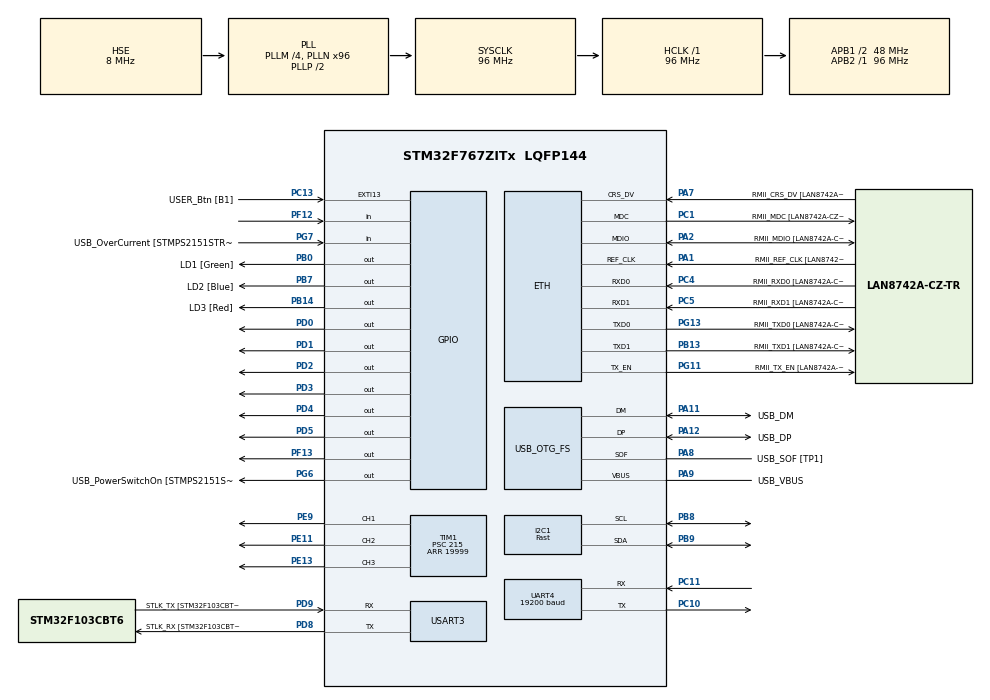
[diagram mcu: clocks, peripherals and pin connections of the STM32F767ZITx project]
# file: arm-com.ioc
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Dma.Request0=UART4_TX
Dma.Request1=UART4_RX
Dma.Request2=USART3_RX
Dma.Request3=USART3_TX
Dma.UART4_RX.1.Direction=DMA_PERIPH_TO_MEMORY
Dma.UART4_RX.1.FIFOMode=DMA_FIFOMODE_DISABLE
Dma.UART4_RX.1.Instance=DMA1_Stream2
Dma.UART4_RX.1.MemDataAlignment=DMA_MDATAALIGN_BYTE
Dma.UART4_RX.1.MemInc=DMA_MINC_ENABLE
Dma.UART4_RX.1.Mode=DMA_NORMAL
Dma.UART4_RX.1.PeriphDataAlignment=DMA_PDATAALIGN_BYTE
Dma.UART4_RX.1.PeriphInc=DMA_PINC_DISABLE
Dma.UART4_RX.1.Priority=DMA_PRIORITY_HIGH
Dma.UART4_TX.0.Direction=DMA_MEMORY_TO_PERIPH
Dma.UART4_TX.0.FIFOMode=DMA_FIFOMODE_DISABLE
Dma.UART4_TX.0.Instance=DMA1_Stream4
Dma.UART4_TX.0.MemDataAlignment=DMA_MDATAALIGN_BYTE
Dma.UART4_TX.0.MemInc=DMA_MINC_ENABLE
Dma.UART4_TX.0.Mode=DMA_NORMAL
Dma.UART4_TX.0.PeriphDataAlignment=DMA_PDATAALIGN_BYTE
Dma.UART4_TX.0.PeriphInc=DMA_PINC_DISABLE
Dma.UART4_TX.0.Priority=DMA_PRIORITY_HIGH
Dma.USART3_RX.2.Direction=DMA_PERIPH_TO_MEMORY
Dma.USART3_RX.2.FIFOMode=DMA_FIFOMODE_DISABLE
Dma.USART3_RX.2.Instance=DMA1_Stream1
Dma.USART3_RX.2.MemDataAlignment=DMA_MDATAALIGN_BYTE
Dma.USART3_RX.2.MemInc=DMA_MINC_ENABLE
Dma.USART3_RX.2.Mode=DMA_NORMAL
Dma.USART3_RX.2.PeriphDataAlignment=DMA_PDATAALIGN_BYTE
Dma.USART3_RX.2.PeriphInc=DMA_PINC_DISABLE
Dma.USART3_RX.2.Priority=DMA_PRIORITY_MEDIUM
Dma.USART3_TX.3.Direction=DMA_MEMORY_TO_PERIPH
Dma.USART3_TX.3.FIFOMode=DMA_FIFOMODE_DISABLE
Dma.USART3_TX.3.Instance=DMA1_Stream3
Dma.USART3_TX.3.MemDataAlignment=DMA_MDATAALIGN_BYTE
Dma.USART3_TX.3.MemInc=DMA_MINC_ENABLE
Dma.USART3_TX.3.Mode=DMA_CIRCULAR
Dma.USART3_TX.3.PeriphDataAlignment=DMA_PDATAALIGN_BYTE
Dma.USART3_TX.3.PeriphInc=DMA_PINC_DISABLE
Dma.USART3_TX.3.Priority=DMA_PRIORITY_MEDIUM
ETH.MediaInterface=HAL_ETH_RMII_MODE
ETH.PHY_Name=LAN8742A_PHY_ADDRESS
ETH.PHY_Value=0
ETH.PhyAddress=0
I2C1.I2C_Speed_Mode=I2C_Fast
I2C1.Timing=0x2010091A
Mcu.Family=STM32F7
Mcu.Name=STM32F767ZITx
Mcu.Package=LQFP144
NVIC.DMA1_Stream1_IRQn=true\:0\:0\:false\:false\:true\:false\:true\:true
NVIC.DMA1_Stream2_IRQn=true\:0\:0\:false\:false\:true\:false\:true\:true
NVIC.DMA1_Stream3_IRQn=true\:0\:0\:false\:false\:true\:false\:true\:true
NVIC.DMA1_Stream4_IRQn=true\:0\:0\:false\:false\:true\:false\:true\:true
NVIC.PriorityGroup=NVIC_PRIORITYGROUP_4
NVIC.TIM1_BRK_TIM9_IRQn=true\:0\:0\:false\:false\:true\:true\:true\:true
PA1.GPIO_Label=RMII_REF_CLK [LAN8742A-CZ-TR_REFCLK0]
PA1.Mode=RMII
PA1.Signal=ETH_REF_CLK
PA10.GPIO_Label=USB_ID
PA10.Signal=USB_OTG_FS_ID
PA11.GPIO_Label=USB_DM
PA11.Mode=Device_Only
PA11.Signal=USB_OTG_FS_DM
PA12.GPIO_Label=USB_DP
PA12.Mode=Device_Only
PA12.Signal=USB_OTG_FS_DP
PA13.GPIO_Label=TMS
PA13.Mode=Serial_Wire
PA13.Signal=SYS_JTMS-SWDIO
PA14.GPIO_Label=TCK
PA14.Mode=Serial_Wire
PA14.Signal=SYS_JTCK-SWCLK
PA2.GPIO_Label=RMII_MDIO [LAN8742A-CZ-TR_MDIO]
PA2.Mode=RMII
PA2.Signal=ETH_MDIO
PA7.GPIO_Label=RMII_CRS_DV [LAN8742A-CZ-TR_CRS_DV]
PA7.Mode=RMII
PA7.Signal=ETH_CRS_DV
PA8.GPIO_Label=USB_SOF [TP1]
PA8.Mode=Activate_SOF_FS
PA8.Signal=USB_OTG_FS_SOF
PA9.GPIO_Label=USB_VBUS
PA9.Mode=Activate_VBUS
PA9.Signal=USB_OTG_FS_VBUS
PB0.GPIO_Label=LD1 [Green]
PB0.Signal=GPIO_Output
PB13.GPIO_Label=RMII_TXD1 [LAN8742A-CZ-TR_TXD1]
PB13.Mode=RMII
PB13.Signal=ETH_TXD1
PB14.GPIO_Label=LD3 [Red]
PB14.Signal=GPIO_Output
PB3.GPIO_Label=SWO
PB3.Signal=SYS_JTDO-SWO
PB7.GPIO_Label=LD2 [Blue]
PB7.Signal=GPIO_Output
PB8.Mode=I2C
PB8.Signal=I2C1_SCL
PB9.Mode=I2C
PB9.Signal=I2C1_SDA
PC1.GPIO_Label=RMII_MDC [LAN8742A-CZ-TR_MDC]
PC1.Mode=RMII
PC1.Signal=ETH_MDC
PC10.Mode=Asynchronous
PC10.Signal=UART4_TX
PC11.Mode=Asynchronous
PC11.Signal=UART4_RX
PC13.GPIO_Label=USER_Btn [B1]
PC13.Signal=GPXTI13
PC14/OSC32_IN.Mode=LSE-External-Oscillator
PC14/OSC32_IN.Signal=RCC_OSC32_IN
PC15/OSC32_OUT.Mode=LSE-External-Oscillator
PC15/OSC32_OUT.Signal=RCC_OSC32_OUT
PC4.GPIO_Label=RMII_RXD0 [LAN8742A-CZ-TR_RXD0]
PC4.Mode=RMII
PC4.Signal=ETH_RXD0
PC5.GPIO_Label=RMII_RXD1 [LAN8742A-CZ-TR_RXD1]
PC5.Mode=RMII
PC5.Signal=ETH_RXD1
PD0.Signal=GPIO_Output
PD1.Signal=GPIO_Output
PD2.Signal=GPIO_Output
PD3.Signal=GPIO_Output
PD4.Signal=GPIO_Output
PD5.Signal=GPIO_Output
PD8.GPIO_Label=STLK_RX [STM32F103CBT6_PA3]
PD8.Mode=Asynchronous
PD8.Signal=USART3_TX
PD9.GPIO_Label=STLK_TX [STM32F103CBT6_PA2]
PD9.Mode=Asynchronous
PD9.Signal=USART3_RX
PE11.Signal=S_TIM1_CH2
PE13.Signal=S_TIM1_CH3
PE9.Signal=S_TIM1_CH1
PF12.Signal=GPIO_Input
PF13.Signal=GPIO_Output
PG11.GPIO_Label=RMII_TX_EN [LAN8742A-CZ-TR_TXEN]
PG11.Mode=RMII
PG11.Signal=ETH_TX_EN
PG13.GPIO_Label=RMII_TXD0 [LAN8742A-CZ-TR_TXD0]
PG13.Mode=RMII
PG13.Signal=ETH_TXD0
PG6.GPIO_Label=USB_PowerSwitchOn [STMPS2151STR_EN]
PG6.Signal=GPIO_Output
PG7.GPIO_Label=USB_OverCurrent [STMPS2151STR_FAULT]
PG7.Signal=GPIO_Input
PH0/OSC_IN.GPIO_Label=MCO [STM32F103CBT6_PA8]
PH0/OSC_IN.Mode=HSE-External-Oscillator
PH0/OSC_IN.Signal=RCC_OSC_IN
PH1/OSC_OUT.Mode=HSE-External-Oscillator
PH1/OSC_OUT.Signal=RCC_OSC_OUT
ProjectManager.HeapSize=0x200
ProjectManager.StackSize=0x400
ProjectManager.TargetToolchain=STM32CubeIDE
RCC.48MHZClocksFreq_Value=24000000
RCC.AHBFreq_Value=96000000
RCC.APB1CLKDivider=RCC_HCLK_DIV2
RCC.APB1Freq_Value=48000000
RCC.APB1TimFreq_Value=96000000
RCC.APB2Freq_Value=96000000
RCC.APB2TimFreq_Value=96000000
RCC.CortexFreq_Value=96000000
RCC.HCLKFreq_Value=96000000
RCC.HSE_VALUE=8000000
RCC.HSI_VALUE=16000000
RCC.PLLM=4
RCC.PLLMUL=RCC_PLL_MUL9
RCC.PLLN=96
RCC.PLLQ=4
RCC.PRESCALERUSB=RCC_USBCLKSOURCE_PLL_DIV1_5
RCC.SYSCLKFreq_VALUE=96000000
RCC.SYSCLKSource=RCC_SYSCLKSOURCE_PLLCLK
RCC.SYSCLKSourceVirtual=RCC_SYSCLKSOURCE_PLLCLK
RCC.USBFreq_Value=48000000
RCC.VCOOutputFreq_Value=192000000
SH.S_TIM1_CH1.0=TIM1_CH1,PWM Generation1 CH1
SH.S_TIM1_CH2.0=TIM1_CH2,PWM Generation2 CH2
SH.S_TIM1_CH3.0=TIM1_CH3,PWM Generation3 CH3
TIM1.AutoReloadPreload=TIM_AUTORELOAD_PRELOAD_ENABLE
TIM1.Channel-PWM\ Generation1\ CH1=TIM_CHANNEL_1
TIM1.Channel-PWM\ Generation2\ CH2=TIM_CHANNEL_2
TIM1.Channel-PWM\ Generation3\ CH3=TIM_CHANNEL_3
TIM1.Period=19999
TIM1.Prescaler=215
TIM1.Pulse-PWM\ Generation1\ CH1=1350
TIM1.Pulse-PWM\ Generation2\ CH2=850
TIM1.Pulse-PWM\ Generation3\ CH3=1600
TIM9.Period=47999
UART4.BaudRate=19200
USART3.VirtualMode-Asynchronous=VM_ASYNC
USB_OTG_FS.VirtualMode=Device_Only
VP_TIM1_VS_ClockSourceINT.Mode=Internal
VP_TIM9_VS_ClockSourceINT.Mode=Internal
board=NUCLEO-F767ZI

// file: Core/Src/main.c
/* USER CODE BEGIN Header */
/**
  ******************************************************************************
  * @file           : main.c
  * @brief          : Main program body
  ******************************************************************************
  * @attention
  *
  * Copyright (c) 2026 STMicroelectronics.
  * All rights reserved.
  *
  * This software is licensed under terms that can be found in the LICENSE file
  * in the root directory of this software component.
  * If no LICENSE file comes with this software, it is provided AS-IS.
  *
  ******************************************************************************
  */
/* USER CODE END Header */
#include "main.h"
#include "string.h"

/* USER CODE BEGIN PD */
#define XUP	0x028C //652
#define XDN 0x0192 //402
#define YUP 0x026B //619
#define YDN 0x0171 //369
#define JMX 0x03FF //1023

#define S1 0x41
#define S2 0x5A
#define E1 0x59
#define E2 0x42
/* USER CODE END PD */

#if defined ( __ICCARM__ ) /*!< IAR Compiler */
#pragma location=0x2007c000
ETH_DMADescTypeDef  DMARxDscrTab[ETH_RX_DESC_CNT]; /* Ethernet Rx DMA Descriptors */
#pragma location=0x2007c0a0
ETH_DMADescTypeDef  DMATxDscrTab[ETH_TX_DESC_CNT]; /* Ethernet Tx DMA Descriptors */

#elif defined ( __CC_ARM )  /* MDK ARM Compiler */

__attribute__((at(0x2007c000))) ETH_DMADescTypeDef  DMARxDscrTab[ETH_RX_DESC_CNT]; /* Ethernet Rx DMA Descriptors */
__attribute__((at(0x2007c0a0))) ETH_DMADescTypeDef  DMATxDscrTab[ETH_TX_DESC_CNT]; /* Ethernet Tx DMA Descriptors */

#elif defined ( __GNUC__ ) /* GNU Compiler */

ETH_DMADescTypeDef DMARxDscrTab[ETH_RX_DESC_CNT] __attribute__((section(".RxDecripSection"))); /* Ethernet Rx DMA Descriptors */
ETH_DMADescTypeDef DMATxDscrTab[ETH_TX_DESC_CNT] __attribute__((section(".TxDecripSection")));   /* Ethernet Tx DMA Descriptors */
#endif

ETH_TxPacketConfig TxConfig;

ETH_HandleTypeDef heth;

I2C_HandleTypeDef hi2c1;

TIM_HandleTypeDef htim1;
TIM_HandleTypeDef htim9;

UART_HandleTypeDef huart4;
UART_HandleTypeDef huart3;
DMA_HandleTypeDef hdma_uart4_tx;
DMA_HandleTypeDef hdma_uart4_rx;
DMA_HandleTypeDef hdma_usart3_rx;
DMA_HandleTypeDef hdma_usart3_tx;

PCD_HandleTypeDef hpcd_USB_OTG_FS;

/* USER CODE BEGIN PV */
uint16_t ms = 0;
uint16_t ss = 0;
int in1 = 0;
unsigned char base_buff[13] = {0};
/* USER CODE END PV */

void SystemClock_Config(void);
static void MX_GPIO_Init(void);
static void MX_DMA_Init(void);
static void MX_ETH_Init(void);
static void MX_USART3_UART_Init(void);
static void MX_USB_OTG_FS_PCD_Init(void);
static void MX_I2C1_Init(void);
static void MX_TIM1_Init(void);
static void MX_TIM9_Init(void);
static void MX_UART4_Init(void);

int main(void)
{

  /* MCU Configuration--------------------------------------------------------*/

  /* Reset of all peripherals, Initializes the Flash interface and the Systick. */
  HAL_Init();

  /* Configure the system clock */
  SystemClock_Config();

  /* Initialize all configured peripherals */
  MX_GPIO_Init();
  MX_DMA_Init();
  MX_ETH_Init();
  MX_USART3_UART_Init();
  MX_USB_OTG_FS_PCD_Init();
  MX_I2C1_Init();
  MX_TIM1_Init();
  MX_TIM9_Init();
  MX_UART4_Init();
  /* USER CODE BEGIN 2 */
  HAL_UART_Receive_DMA(&huart4, (uint8_t*)base_buff, 12);

  float time_cur;
  float time_las = 0.0;
  uint16_t x_in, y_in;
  int step = 0;
  /* USER CODE END 2 */

  /* Infinite loop */
  /* USER CODE BEGIN WHILE */
  HAL_TIM_Base_Start_IT(&htim9);
  while (1) {
	  time_cur = (float)ss + (float)ms / 1000.0;

	  //message analysis
	  if (in1 == 1) {
		  //serial monitor
		  HAL_UART_Transmit_DMA(&huart3, (uint8_t*)base_buff, 12);

		  //error check
		  if (base_buff[0] == S1 && base_buff[1] == S2) {
			  if (base_buff[3] == 0x01) {
				  x_in = ((uint16_t)base_buff[4] << 8) | base_buff[5];
				  y_in = ((uint16_t)base_buff[6] << 8) | base_buff[7];
			  }
		  }
		  in1 = 0;
	  }

	  //stepper polling loop
	  if (time_cur - time_las >= 0.005) {
		  time_las = time_cur;
		  //HAL_GPIO_TogglePin(GPIOB, GPIO_PIN_0);
		  //HAL_GPIO_TogglePin(GPIOB, GPIO_PIN_7);
		  //HAL_GPIO_TogglePin(GPIOB, GPIO_PIN_14);

		  if (x_in > XUP) {//output cw rotation
			  HAL_GPIO_WritePin(GPIOD, GPIO_PIN_0, 0);
			  HAL_GPIO_TogglePin(GPIOD, GPIO_PIN_1);

		  } else if (x_in < XDN) {//output ccw rotation
			  HAL_GPIO_WritePin(GPIOD, GPIO_PIN_0, 1);
			  HAL_GPIO_TogglePin(GPIOD, GPIO_PIN_1);

		  }

		  if (y_in > YUP) {//output extend
			  HAL_GPIO_WritePin(GPIOD, GPIO_PIN_2, 0);
			  HAL_GPIO_WritePin(GPIOD, GPIO_PIN_4, 0);
			  HAL_GPIO_TogglePin(GPIOD, GPIO_PIN_3);
			  if (step == 2) {
				  HAL_GPIO_TogglePin(GPIOD, GPIO_PIN_5);
				  step = 0;
			  }
			  step++;

		  } else if (y_in < YDN) {//output retract
			  HAL_GPIO_WritePin(GPIOD, GPIO_PIN_2, 1);
			  HAL_GPIO_WritePin(GPIOD, GPIO_PIN_4, 1);
			  HAL_GPIO_TogglePin(GPIOD, GPIO_PIN_3);
			  if (step == 2) {HAL_GPIO_TogglePin(GPIOD, GPIO_PIN_5);}
			  step--;
			  if (step != 0 && step != 1 && step != 2) {step = 2;}

		  }
	  }
    /* USER CODE END WHILE */

  }
}

void SystemClock_Config(void)
{
  RCC_OscInitTypeDef RCC_OscInitStruct = {0};
  RCC_ClkInitTypeDef RCC_ClkInitStruct = {0};

  /** Configure LSE Drive Capability
  */
  HAL_PWR_EnableBkUpAccess();

  /** Configure the main internal regulator output voltage
  */
  __HAL_RCC_PWR_CLK_ENABLE();
  __HAL_PWR_VOLTAGESCALING_CONFIG(PWR_REGULATOR_VOLTAGE_SCALE3);

  /** Initializes the RCC Oscillators according to the specified parameters
  * in the RCC_OscInitTypeDef structure.
  */
  RCC_OscInitStruct.OscillatorType = RCC_OSCILLATORTYPE_HSE;
  RCC_OscInitStruct.HSEState = RCC_HSE_ON;
  RCC_OscInitStruct.PLL.PLLState = RCC_PLL_ON;
  RCC_OscInitStruct.PLL.PLLSource = RCC_PLLSOURCE_HSE;
  RCC_OscInitStruct.PLL.PLLM = 4;
  RCC_OscInitStruct.PLL.PLLN = 96;
  RCC_OscInitStruct.PLL.PLLP = RCC_PLLP_DIV2;
  RCC_OscInitStruct.PLL.PLLQ = 4;
  RCC_OscInitStruct.PLL.PLLR = 2;
  if (HAL_RCC_OscConfig(&RCC_OscInitStruct) != HAL_OK)
  {
    Error_Handler();
  }

  /** Activate the Over-Drive mode
  */
  if (HAL_PWREx_EnableOverDrive() != HAL_OK)
  {
    Error_Handler();
  }

  /** Initializes the CPU, AHB and APB buses clocks
  */
  RCC_ClkInitStruct.ClockType = RCC_CLOCKTYPE_HCLK|RCC_CLOCKTYPE_SYSCLK
                              |RCC_CLOCKTYPE_PCLK1|RCC_CLOCKTYPE_PCLK2;
  RCC_ClkInitStruct.SYSCLKSource = RCC_SYSCLKSOURCE_PLLCLK;
  RCC_ClkInitStruct.AHBCLKDivider = RCC_SYSCLK_DIV1;
  RCC_ClkInitStruct.APB1CLKDivider = RCC_HCLK_DIV2;
  RCC_ClkInitStruct.APB2CLKDivider = RCC_HCLK_DIV1;

  if (HAL_RCC_ClockConfig(&RCC_ClkInitStruct, FLASH_LATENCY_3) != HAL_OK)
  {
    Error_Handler();
  }
}

static void MX_ETH_Init(void)
{

   static uint8_t MACAddr[6];

  heth.Instance = ETH;
  MACAddr[0] = 0x00;
  MACAddr[1] = 0x80;
  MACAddr[2] = 0xE1;
  MACAddr[3] = 0x00;
  MACAddr[4] = 0x00;
  MACAddr[5] = 0x00;
  heth.Init.MACAddr = &MACAddr[0];
  heth.Init.MediaInterface = HAL_ETH_RMII_MODE;
  heth.Init.TxDesc = DMATxDscrTab;
  heth.Init.RxDesc = DMARxDscrTab;
  heth.Init.RxBuffLen = 1524;

  if (HAL_ETH_Init(&heth) != HAL_OK)
  {
    Error_Handler();
  }

  memset(&TxConfig, 0 , sizeof(ETH_TxPacketConfig));
  TxConfig.Attributes = ETH_TX_PACKETS_FEATURES_CSUM | ETH_TX_PACKETS_FEATURES_CRCPAD;
  TxConfig.ChecksumCtrl = ETH_CHECKSUM_IPHDR_PAYLOAD_INSERT_PHDR_CALC;
  TxConfig.CRCPadCtrl = ETH_CRC_PAD_INSERT;

}

static void MX_I2C1_Init(void)
{

  hi2c1.Instance = I2C1;
  hi2c1.Init.Timing = 0x2010091A;
  hi2c1.Init.OwnAddress1 = 0;
  hi2c1.Init.AddressingMode = I2C_ADDRESSINGMODE_7BIT;
  hi2c1.Init.DualAddressMode = I2C_DUALADDRESS_DISABLE;
  hi2c1.Init.OwnAddress2 = 0;
  hi2c1.Init.OwnAddress2Masks = I2C_OA2_NOMASK;
  hi2c1.Init.GeneralCallMode = I2C_GENERALCALL_DISABLE;
  hi2c1.Init.NoStretchMode = I2C_NOSTRETCH_DISABLE;
  if (HAL_I2C_Init(&hi2c1) != HAL_OK)
  {
    Error_Handler();
  }

  /** Configure Analogue filter
  */
  if (HAL_I2CEx_ConfigAnalogFilter(&hi2c1, I2C_ANALOGFILTER_ENABLE) != HAL_OK)
  {
    Error_Handler();
  }

  /** Configure Digital filter
  */
  if (HAL_I2CEx_ConfigDigitalFilter(&hi2c1, 0) != HAL_OK)
  {
    Error_Handler();
  }

}

static void MX_TIM1_Init(void)
{

  TIM_ClockConfigTypeDef sClockSourceConfig = {0};
  TIM_MasterConfigTypeDef sMasterConfig = {0};
  TIM_OC_InitTypeDef sConfigOC = {0};
  TIM_BreakDeadTimeConfigTypeDef sBreakDeadTimeConfig = {0};

  htim1.Instance = TIM1;
  htim1.Init.Prescaler = 215;
  htim1.Init.CounterMode = TIM_COUNTERMODE_UP;
  htim1.Init.Period = 19999;
  htim1.Init.ClockDivision = TIM_CLOCKDIVISION_DIV1;
  htim1.Init.RepetitionCounter = 0;
  htim1.Init.AutoReloadPreload = TIM_AUTORELOAD_PRELOAD_ENABLE;
  if (HAL_TIM_Base_Init(&htim1) != HAL_OK)
  {
    Error_Handler();
  }
  sClockSourceConfig.ClockSource = TIM_CLOCKSOURCE_INTERNAL;
  if (HAL_TIM_ConfigClockSource(&htim1, &sClockSourceConfig) != HAL_OK)
  {
    Error_Handler();
  }
  if (HAL_TIM_PWM_Init(&htim1) != HAL_OK)
  {
    Error_Handler();
  }
  sMasterConfig.MasterOutputTrigger = TIM_TRGO_RESET;
  sMasterConfig.MasterOutputTrigger2 = TIM_TRGO2_RESET;
  sMasterConfig.MasterSlaveMode = TIM_MASTERSLAVEMODE_DISABLE;
  if (HAL_TIMEx_MasterConfigSynchronization(&htim1, &sMasterConfig) != HAL_OK)
  {
    Error_Handler();
  }
  sConfigOC.OCMode = TIM_OCMODE_PWM1;
  sConfigOC.Pulse = 1350;
  sConfigOC.OCPolarity = TIM_OCPOLARITY_HIGH;
  sConfigOC.OCNPolarity = TIM_OCNPOLARITY_HIGH;
  sConfigOC.OCFastMode = TIM_OCFAST_DISABLE;
  sConfigOC.OCIdleState = TIM_OCIDLESTATE_RESET;
  sConfigOC.OCNIdleState = TIM_OCNIDLESTATE_RESET;
  if (HAL_TIM_PWM_ConfigChannel(&htim1, &sConfigOC, TIM_CHANNEL_1) != HAL_OK)
  {
    Error_Handler();
  }
  sConfigOC.Pulse = 850;
  if (HAL_TIM_PWM_ConfigChannel(&htim1, &sConfigOC, TIM_CHANNEL_2) != HAL_OK)
  {
    Error_Handler();
  }
  sConfigOC.Pulse = 1600;
  if (HAL_TIM_PWM_ConfigChannel(&htim1, &sConfigOC, TIM_CHANNEL_3) != HAL_OK)
  {
    Error_Handler();
  }
  sBreakDeadTimeConfig.OffStateRunMode = TIM_OSSR_DISABLE;
  sBreakDeadTimeConfig.OffStateIDLEMode = TIM_OSSI_DISABLE;
  sBreakDeadTimeConfig.LockLevel = TIM_LOCKLEVEL_OFF;
  sBreakDeadTimeConfig.DeadTime = 0;
  sBreakDeadTimeConfig.BreakState = TIM_BREAK_DISABLE;
  sBreakDeadTimeConfig.BreakPolarity = TIM_BREAKPOLARITY_HIGH;
  sBreakDeadTimeConfig.BreakFilter = 0;
  sBreakDeadTimeConfig.Break2State = TIM_BREAK2_DISABLE;
  sBreakDeadTimeConfig.Break2Polarity = TIM_BREAK2POLARITY_HIGH;
  sBreakDeadTimeConfig.Break2Filter = 0;
  sBreakDeadTimeConfig.AutomaticOutput = TIM_AUTOMATICOUTPUT_DISABLE;
  if (HAL_TIMEx_ConfigBreakDeadTime(&htim1, &sBreakDeadTimeConfig) != HAL_OK)
  {
    Error_Handler();
  }
  HAL_TIM_MspPostInit(&htim1);

}

static void MX_TIM9_Init(void)
{

  TIM_ClockConfigTypeDef sClockSourceConfig = {0};

  htim9.Instance = TIM9;
  htim9.Init.Prescaler = 0;
  htim9.Init.CounterMode = TIM_COUNTERMODE_UP;
  htim9.Init.Period = 47999;
  htim9.Init.ClockDivision = TIM_CLOCKDIVISION_DIV1;
  htim9.Init.AutoReloadPreload = TIM_AUTORELOAD_PRELOAD_DISABLE;
  if (HAL_TIM_Base_Init(&htim9) != HAL_OK)
  {
    Error_Handler();
  }
  sClockSourceConfig.ClockSource = TIM_CLOCKSOURCE_INTERNAL;
  if (HAL_TIM_ConfigClockSource(&htim9, &sClockSourceConfig) != HAL_OK)
  {
    Error_Handler();
  }

}

static void MX_UART4_Init(void)
{

  huart4.Instance = UART4;
  huart4.Init.BaudRate = 19200;
  huart4.Init.WordLength = UART_WORDLENGTH_8B;
  huart4.Init.StopBits = UART_STOPBITS_1;
  huart4.Init.Parity = UART_PARITY_NONE;
  huart4.Init.Mode = UART_MODE_TX_RX;
  huart4.Init.HwFlowCtl = UART_HWCONTROL_NONE;
  huart4.Init.OverSampling = UART_OVERSAMPLING_16;
  huart4.Init.OneBitSampling = UART_ONE_BIT_SAMPLE_DISABLE;
  huart4.AdvancedInit.AdvFeatureInit = UART_ADVFEATURE_NO_INIT;
  if (HAL_UART_Init(&huart4) != HAL_OK)
  {
    Error_Handler();
  }

}

static void MX_USART3_UART_Init(void)
{

  huart3.Instance = USART3;
  huart3.Init.BaudRate = 115200;
  huart3.Init.WordLength = UART_WORDLENGTH_8B;
  huart3.Init.StopBits = UART_STOPBITS_1;
  huart3.Init.Parity = UART_PARITY_NONE;
  huart3.Init.Mode = UART_MODE_TX_RX;
  huart3.Init.HwFlowCtl = UART_HWCONTROL_NONE;
  huart3.Init.OverSampling = UART_OVERSAMPLING_16;
  huart3.Init.OneBitSampling = UART_ONE_BIT_SAMPLE_DISABLE;
  huart3.AdvancedInit.AdvFeatureInit = UART_ADVFEATURE_NO_INIT;
  if (HAL_UART_Init(&huart3) != HAL_OK)
  {
    Error_Handler();
  }

}

static void MX_USB_OTG_FS_PCD_Init(void)
{

  hpcd_USB_OTG_FS.Instance = USB_OTG_FS;
  hpcd_USB_OTG_FS.Init.dev_endpoints = 6;
  hpcd_USB_OTG_FS.Init.speed = PCD_SPEED_FULL;
  hpcd_USB_OTG_FS.Init.dma_enable = DISABLE;
  hpcd_USB_OTG_FS.Init.phy_itface = PCD_PHY_EMBEDDED;
  hpcd_USB_OTG_FS.Init.Sof_enable = ENABLE;
  hpcd_USB_OTG_FS.Init.low_power_enable = DISABLE;
  hpcd_USB_OTG_FS.Init.lpm_enable = DISABLE;
  hpcd_USB_OTG_FS.Init.vbus_sensing_enable = ENABLE;
  hpcd_USB_OTG_FS.Init.use_dedicated_ep1 = DISABLE;
  if (HAL_PCD_Init(&hpcd_USB_OTG_FS) != HAL_OK)
  {
    Error_Handler();
  }

}

static void MX_DMA_Init(void)
{

  /* DMA controller clock enable */
  __HAL_RCC_DMA1_CLK_ENABLE();

  /* DMA interrupt init */
  /* DMA1_Stream1_IRQn interrupt configuration */
  HAL_NVIC_SetPriority(DMA1_Stream1_IRQn, 0, 0);
  HAL_NVIC_EnableIRQ(DMA1_Stream1_IRQn);
  /* DMA1_Stream2_IRQn interrupt configuration */
  HAL_NVIC_SetPriority(DMA1_Stream2_IRQn, 0, 0);
  HAL_NVIC_EnableIRQ(DMA1_Stream2_IRQn);
  /* DMA1_Stream3_IRQn interrupt configuration */
  HAL_NVIC_SetPriority(DMA1_Stream3_IRQn, 0, 0);
  HAL_NVIC_EnableIRQ(DMA1_Stream3_IRQn);
  /* DMA1_Stream4_IRQn interrupt configuration */
  HAL_NVIC_SetPriority(DMA1_Stream4_IRQn, 0, 0);
  HAL_NVIC_EnableIRQ(DMA1_Stream4_IRQn);

}

static void MX_GPIO_Init(void)
{
  GPIO_InitTypeDef GPIO_InitStruct = {0};

  /* GPIO Ports Clock Enable */
  __HAL_RCC_GPIOC_CLK_ENABLE();
  __HAL_RCC_GPIOH_CLK_ENABLE();
  __HAL_RCC_GPIOA_CLK_ENABLE();
  __HAL_RCC_GPIOB_CLK_ENABLE();
  __HAL_RCC_GPIOF_CLK_ENABLE();
  __HAL_RCC_GPIOE_CLK_ENABLE();
  __HAL_RCC_GPIOD_CLK_ENABLE();
  __HAL_RCC_GPIOG_CLK_ENABLE();

  /*Configure GPIO pin Output Level */
  HAL_GPIO_WritePin(GPIOB, LD1_Pin|LD3_Pin|LD2_Pin, GPIO_PIN_RESET);

  /*Configure GPIO pin Output Level */
  HAL_GPIO_WritePin(GPIOF, GPIO_PIN_13, GPIO_PIN_RESET);

  /*Configure GPIO pin Output Level */
  HAL_GPIO_WritePin(USB_PowerSwitchOn_GPIO_Port, USB_PowerSwitchOn_Pin, GPIO_PIN_RESET);

  /*Configure GPIO pin Output Level */
  HAL_GPIO_WritePin(GPIOD, GPIO_PIN_0|GPIO_PIN_1|GPIO_PIN_2|GPIO_PIN_3
                          |GPIO_PIN_4|GPIO_PIN_5, GPIO_PIN_RESET);

  /*Configure GPIO pin : USER_Btn_Pin */
  GPIO_InitStruct.Pin = USER_Btn_Pin;
  GPIO_InitStruct.Mode = GPIO_MODE_IT_RISING;
  GPIO_InitStruct.Pull = GPIO_NOPULL;
  HAL_GPIO_Init(USER_Btn_GPIO_Port, &GPIO_InitStruct);

  /*Configure GPIO pins : LD1_Pin LD3_Pin LD2_Pin */
  GPIO_InitStruct.Pin = LD1_Pin|LD3_Pin|LD2_Pin;
  GPIO_InitStruct.Mode = GPIO_MODE_OUTPUT_PP;
  GPIO_InitStruct.Pull = GPIO_NOPULL;
  GPIO_InitStruct.Speed = GPIO_SPEED_FREQ_LOW;
  HAL_GPIO_Init(GPIOB, &GPIO_InitStruct);

  /*Configure GPIO pin : PF12 */
  GPIO_InitStruct.Pin = GPIO_PIN_12;
  GPIO_InitStruct.Mode = GPIO_MODE_INPUT;
  GPIO_InitStruct.Pull = GPIO_NOPULL;
  HAL_GPIO_Init(GPIOF, &GPIO_InitStruct);

  /*Configure GPIO pin : PF13 */
  GPIO_InitStruct.Pin = GPIO_PIN_13;
  GPIO_InitStruct.Mode = GPIO_MODE_OUTPUT_PP;
  GPIO_InitStruct.Pull = GPIO_NOPULL;
  GPIO_InitStruct.Speed = GPIO_SPEED_FREQ_LOW;
  HAL_GPIO_Init(GPIOF, &GPIO_InitStruct);

  /*Configure GPIO pin : USB_PowerSwitchOn_Pin */
  GPIO_InitStruct.Pin = USB_PowerSwitchOn_Pin;
  GPIO_InitStruct.Mode = GPIO_MODE_OUTPUT_PP;
  GPIO_InitStruct.Pull = GPIO_NOPULL;
  GPIO_InitStruct.Speed = GPIO_SPEED_FREQ_LOW;
  HAL_GPIO_Init(USB_PowerSwitchOn_GPIO_Port, &GPIO_InitStruct);

  /*Configure GPIO pin : USB_OverCurrent_Pin */
  GPIO_InitStruct.Pin = USB_OverCurrent_Pin;
  GPIO_InitStruct.Mode = GPIO_MODE_INPUT;
  GPIO_InitStruct.Pull = GPIO_NOPULL;
  HAL_GPIO_Init(USB_OverCurrent_GPIO_Port, &GPIO_InitStruct);

  /*Configure GPIO pins : PD0 PD1 PD2 PD3
                           PD4 PD5 */
  GPIO_InitStruct.Pin = GPIO_PIN_0|GPIO_PIN_1|GPIO_PIN_2|GPIO_PIN_3
                          |GPIO_PIN_4|GPIO_PIN_5;
  GPIO_InitStruct.Mode = GPIO_MODE_OUTPUT_PP;
  GPIO_InitStruct.Pull = GPIO_NOPULL;
  GPIO_InitStruct.Speed = GPIO_SPEED_FREQ_LOW;
  HAL_GPIO_Init(GPIOD, &GPIO_InitStruct);

}

/* USER CODE BEGIN 4 */
void HAL_UART_RxCpltCallback(UART_HandleTypeDef *huart) {
	if (huart->Instance == UART4) {
		in1 = 1;
		HAL_GPIO_TogglePin(GPIOB, GPIO_PIN_7);

		HAL_UART_Receive_DMA(&huart4, (uint8_t*)base_buff, 12);
	}
}

/**
 *  @brief  Timer interrupt callback for polling loops
 *  @param  *htim: pointer to timer instance
 *  @retval None
 *
 */
void HAL_TIM_PeriodElapsedCallback(TIM_HandleTypeDef* htim) {
	ms++;
	if (ms >= 1000) {
		ms -= 1000;
		ss++;
	}
}
/* USER CODE END 4 */

void Error_Handler(void)
{
  __disable_irq();
  while (1)
  {
  }
}
